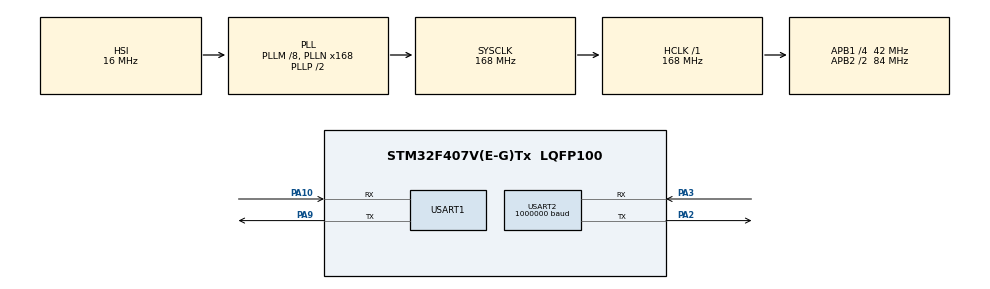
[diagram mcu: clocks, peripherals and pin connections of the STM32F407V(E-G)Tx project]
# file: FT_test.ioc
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Mcu.Family=STM32F4
Mcu.Name=STM32F407V(E-G)Tx
Mcu.Package=LQFP100
NVIC.PriorityGroup=NVIC_PRIORITYGROUP_4
PA10.Mode=Asynchronous
PA10.Signal=USART1_RX
PA13.Mode=Serial_Wire
PA13.Signal=SYS_JTMS-SWDIO
PA14.Mode=Serial_Wire
PA14.Signal=SYS_JTCK-SWCLK
PA2.Mode=Asynchronous
PA2.Signal=USART2_TX
PA3.Mode=Asynchronous
PA3.Signal=USART2_RX
PA9.Mode=Asynchronous
PA9.Signal=USART1_TX
PH0-OSC_IN.Mode=HSE-External-Oscillator
PH0-OSC_IN.Signal=RCC_OSC_IN
PH1-OSC_OUT.Mode=HSE-External-Oscillator
PH1-OSC_OUT.Signal=RCC_OSC_OUT
ProjectManager.HeapSize=0x200
ProjectManager.StackSize=0x400
ProjectManager.TargetToolchain=Makefile
RCC.48MHZClocksFreq_Value=84000000
RCC.AHBFreq_Value=168000000
RCC.APB1CLKDivider=RCC_HCLK_DIV4
RCC.APB1Freq_Value=42000000
RCC.APB1TimFreq_Value=84000000
RCC.APB2CLKDivider=RCC_HCLK_DIV2
RCC.APB2Freq_Value=84000000
RCC.APB2TimFreq_Value=168000000
RCC.CortexFreq_Value=168000000
RCC.HCLKFreq_Value=168000000
RCC.HSE_VALUE=8000000
RCC.HSI_VALUE=16000000
RCC.LSE_VALUE=32768
RCC.PLLM=8
RCC.PLLN=168
RCC.SYSCLKFreq_VALUE=168000000
RCC.SYSCLKSource=RCC_SYSCLKSOURCE_PLLCLK
RCC.VCOOutputFreq_Value=336000000
USART1.VirtualMode=VM_ASYNC
USART2.BaudRate=1000000
USART2.VirtualMode=VM_ASYNC
board=custom

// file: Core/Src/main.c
/* USER CODE BEGIN Header */
/**
  ******************************************************************************
  * @file           : main.c
  * @brief          : Main program body
  ******************************************************************************
  * @attention
  *
  * Copyright (c) 2025 STMicroelectronics.
  * All rights reserved.
  *
  * This software is licensed under terms that can be found in the LICENSE file
  * in the root directory of this software component.
  * If no LICENSE file comes with this software, it is provided AS-IS.
  *
  ******************************************************************************
  */
/* USER CODE END Header */
#include "main.h"
#include "usart.h"
#include "gpio.h"

/* USER CODE BEGIN Includes */
#include "SCServo.h"
#include "User_SMS_STS.h"
#include "io_retargetToUart.h"
/* USER CODE END Includes */

void SystemClock_Config(void);

/* USER CODE BEGIN 0 */

int Pos1 = 0;
int Pos2 = 0;
int Speed1 = 0;
int Speed2 = 0;
/* USER CODE END 0 */

int main(void)
{

  /* MCU Configuration--------------------------------------------------------*/

  /* Reset of all peripherals, Initializes the Flash interface and the Systick. */
  HAL_Init();

  /* Configure the system clock */
  SystemClock_Config();

  /* Initialize all configured peripherals */
  MX_GPIO_Init();
  MX_USART1_UART_Init();
  MX_USART2_UART_Init();
  /* USER CODE BEGIN 2 */
	HAL_Delay(1000);      // 等待舵机启动
  FT_Write_Position_Setup();  //舵机初始化配�?
  //FT_Write_Position();

  /* USER CODE END 2 */

  /* Infinite loop */
  while (1)
  {

    /* USER CODE BEGIN 3 */
    Pos1 = ReadPos(1);
    Pos2 = ReadPos(2);
    Speed1 = ReadSpeed(1);
    Speed2 = ReadSpeed(2);
    WritePosEx(1, 4095*2, 2400, 50);
    WritePosEx(2, -4095*2, 2400, 50);
    // if(Speed1 == 0){
    //   if(Pos1 == 0){
    //     WritePosEx(1, -4095, 2400, 50);
    //     Speed1 = ReadSpeed(1);
    //     Pos1 = ReadPos(1);
    //   }else{
    //     WritePosEx(1, 0, 2400, 50);
    //     Speed1 = ReadSpeed(1);
    //     Pos1 = ReadPos(1);
    //   }
    // }
    // if(Speed2 == 0){
    //   if(Pos2 == 0){
    //     WritePosEx(2, 4095, 2400, 50);
    //     Speed1 = ReadSpeed(1);
    //     Pos1 = ReadPos(1);
    //   }else{
    //     WritePosEx(2, 0, 2400, 50);
    //     Speed1 = ReadSpeed(1);
    //     Pos1 = ReadPos(1);
    //   }
    // }
    // if(Speed1 == 0){
    //   WritePosEx(1, 0, 2400, 50);
    //   Speed1 = ReadSpeed(1);
    //   Pos1 = ReadPos(1);
    // }
    // if(Speed2 == 0){
    //   WritePosEx(2, 0, 2400, 50);
    //   Speed2 = ReadSpeed(2);
    //   Pos2 = ReadPos(2);
    // }

    // HAL_Delay((4095-0)*1000/(60*50) + (60*50)*10/(50) + 50);//[(P1-P0)/(V*50)]*1000+[(V*50)/(A*100)]*1000 + 50(??)
    // HAL_Delay(3000);
    // WritePosEx(2,0,2400,50);
    // WritePosEx(1,0,2400,50);
    // HAL_Delay((4095-0)*1000/(60*50) + (60*50)*10/(50) + 50);//[(P1-P0)/(V*50)]*1000+[(V*50)/(A*100)]*1000 + 50(??)
    // HAL_Delay(3000);
  }
  /* USER CODE END 3 */
}

void SystemClock_Config(void)
{
  RCC_OscInitTypeDef RCC_OscInitStruct = {0};
  RCC_ClkInitTypeDef RCC_ClkInitStruct = {0};

  /** Configure the main internal regulator output voltage
  */
  __HAL_RCC_PWR_CLK_ENABLE();
  __HAL_PWR_VOLTAGESCALING_CONFIG(PWR_REGULATOR_VOLTAGE_SCALE1);

  /** Initializes the RCC Oscillators according to the specified parameters
  * in the RCC_OscInitTypeDef structure.
  */
  RCC_OscInitStruct.OscillatorType = RCC_OSCILLATORTYPE_HSI;
  RCC_OscInitStruct.HSIState = RCC_HSI_ON;
  RCC_OscInitStruct.HSICalibrationValue = RCC_HSICALIBRATION_DEFAULT;
  RCC_OscInitStruct.PLL.PLLState = RCC_PLL_ON;
  RCC_OscInitStruct.PLL.PLLSource = RCC_PLLSOURCE_HSI;
  RCC_OscInitStruct.PLL.PLLM = 8;
  RCC_OscInitStruct.PLL.PLLN = 168;
  RCC_OscInitStruct.PLL.PLLP = RCC_PLLP_DIV2;
  RCC_OscInitStruct.PLL.PLLQ = 4;
  if (HAL_RCC_OscConfig(&RCC_OscInitStruct) != HAL_OK)
  {
    Error_Handler();
  }

  /** Initializes the CPU, AHB and APB buses clocks
  */
  RCC_ClkInitStruct.ClockType = RCC_CLOCKTYPE_HCLK|RCC_CLOCKTYPE_SYSCLK
                              |RCC_CLOCKTYPE_PCLK1|RCC_CLOCKTYPE_PCLK2;
  RCC_ClkInitStruct.SYSCLKSource = RCC_SYSCLKSOURCE_PLLCLK;
  RCC_ClkInitStruct.AHBCLKDivider = RCC_SYSCLK_DIV1;
  RCC_ClkInitStruct.APB1CLKDivider = RCC_HCLK_DIV4;
  RCC_ClkInitStruct.APB2CLKDivider = RCC_HCLK_DIV2;

  if (HAL_RCC_ClockConfig(&RCC_ClkInitStruct, FLASH_LATENCY_5) != HAL_OK)
  {
    Error_Handler();
  }
}

void Error_Handler(void)
{
  __disable_irq();
  while (1)
  {
  }
}
